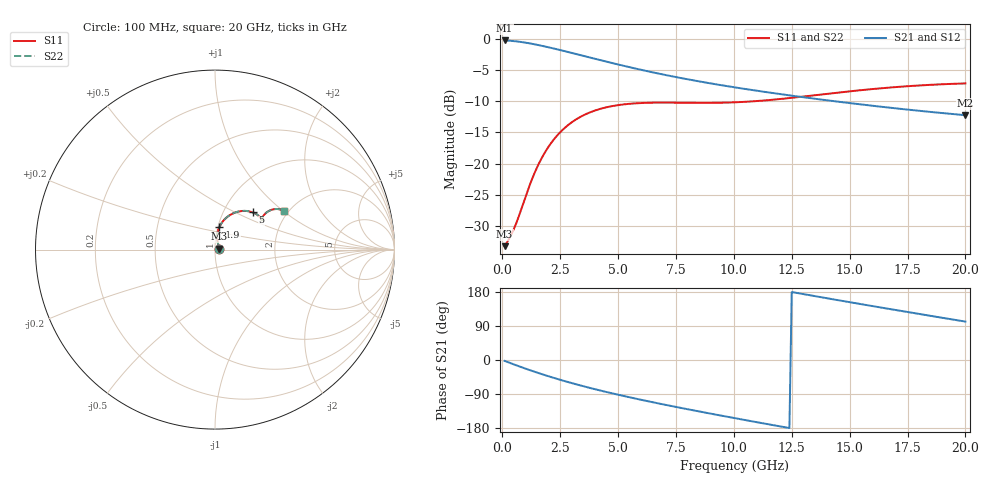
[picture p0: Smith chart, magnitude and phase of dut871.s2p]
! Touchstone file exported from HFSS 2024.1.0
!  File:  C:/UserFiles/LocalFiles/RDL_TSV_Batchsim/temp_RDL_TSV_871_1779927631.aedt
!  Generated:  08:36:09 AM May 28, 2026
!  Design:  RDL_TSV
!  Project:  temp_RDL_TSV_871_1779927631
!  Setup:  Setup1
!  Solution:  Sweep
! Variables:
!  dtsv = 13.96um
!  hbump = 3um
!  htsv = 70.59um
!  ldown = 543.65um
!  lrdl = 524.48um
!  p = 40
!  p1 = 55.28um
!  rhole = 10um
!  subl = 3728.87um
!  t = 450um
!  tdown = 3.64um
!  trdl = 4.74um
!  viad = 10um
!  wdown = 22.93um
!  wrdl = 10.96um
!  xbump = 18um
# GHz S MA R 50.000000
! Terminal data exported
! Port[1] = TM1_1_T1
! Port[2] = TM1_4_T1
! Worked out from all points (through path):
!   200 points, 100 MHz to 20 GHz, reference 50 ohm
!   highest |S21| = -0.19 dB at 100 MHz (marker M1); lowest = -12.2 dB at 20 GHz (marker M2)
!   group delay of S21, straight-line fit = 33.8 ps
!   lowest |S11| = -33.3 dB at 100 MHz (marker M3), VSWR 1.04, Z = 52.2 + j0.496 ohm
!   |S11| at or under -10 dB: start of sweep to 10.78 GHz
!   |S22| runs from -33.3 to -7.1 dB; largest |S21 - S12| = 1e-14
!   S11 on the Smith chart (normalised r, x): 100 MHz: 1.04, +0.01; 1.9 GHz: 1.02, +0.26; 5 GHz: 1.37, +0.62; 20 GHz: 1.90, +1.01
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0.1  0.02161 12.7  0.9783 -2.4  0.9783 -2.4  0.02161 12.7
! Gamma 0 0 0 0
! Port Impedance 50 0 50 0
0.5  0.02972 49.3  0.9668 -11.6  0.9668 -11.6  0.02972 49.4
1  0.05379 75.9  0.9397 -22.7  0.9397 -22.7  0.0538 75.9
1.4  0.0844 81.3  0.911 -31.1  0.911 -31.1  0.08444 81.3
1.9  0.128 79.0  0.8704 -41.1  0.8704 -41.1  0.1281 79.1
2.2  0.154 75.8  0.8449 -46.8  0.8449 -46.8  0.1541 75.9
2.6  0.1863 70.8  0.8106 -54.0  0.8106 -54.0  0.1865 70.8
3  0.2147 65.6  0.7766 -61.0  0.7766 -61.0  0.2149 65.7
3.5  0.2442 59.4  0.7356 -69.2  0.7356 -69.2  0.2444 59.5
4.2  0.2742 51.8  0.6818 -80.1  0.6818 -80.1  0.2745 51.8
5  0.2951 44.7  0.6267 -91.6  0.6267 -91.6  0.2954 44.7
5.9  0.3062 38.8  0.5729 -103.8  0.5729 -103.8  0.3066 38.8
6.8  0.3092 34.9  0.5271 -115.3  0.5271 -115.3  0.3096 34.9
7.6  0.3087 32.9  0.4921 -125.1  0.4921 -125.1  0.3091 32.9
8.4  0.3076 32.0  0.4617 -134.6  0.4617 -134.6  0.3082 32.1
10.1  0.3112 32.9  0.4085 -154.1  0.4085 -154.1  0.3118 32.9
11.7  0.3264 34.7  0.3687 -171.9  0.3687 -171.9  0.327 34.7
13.4  0.3528 35.8  0.334 169.6  0.334 169.6  0.3534 35.8
15  0.381 35.3  0.3065 152.6  0.3065 152.6  0.3816 35.3
16.7  0.4083 33.6  0.2818 134.8  0.2818 134.8  0.4088 33.6
18.3  0.428 31.5  0.2623 118.5  0.2623 118.5  0.4285 31.4
20  0.4413 29.1  0.2449 101.3  0.2449 101.3  0.4417 29.1
